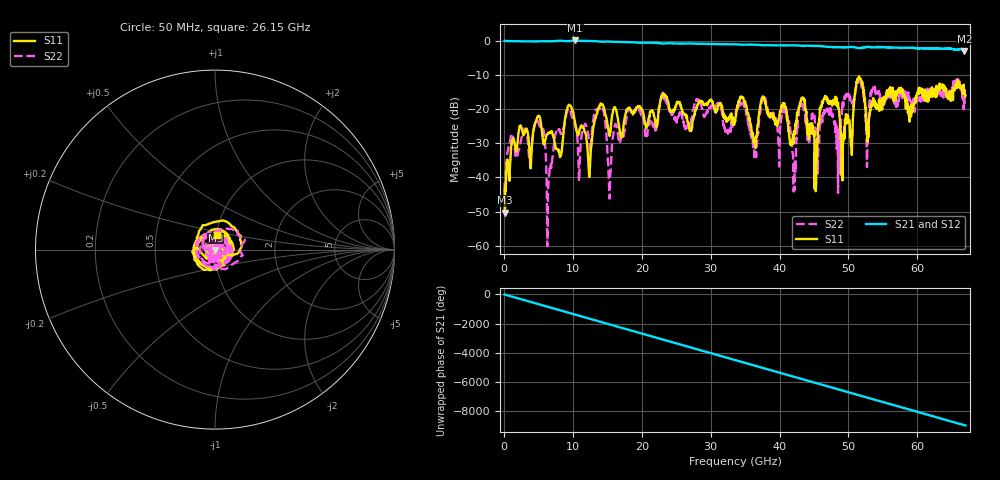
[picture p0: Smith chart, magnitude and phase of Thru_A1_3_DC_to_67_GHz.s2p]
#  HZ  S  MA  R  50.00
! Rohde & Schwarz ZVA67 4Ports - Version 4.11 - 1305.7002k04 SN: 101051
! Date: 2023-05-31 11:07:36
! Measurements: S11 S21 S12 S22
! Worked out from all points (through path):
!   1340 points, 50 MHz to 67 GHz, reference 50 ohm
!   highest |S21| = 0.12 dB at 10.3 GHz (marker M1); lowest = -3.0 dB at 66.85 GHz (marker M2)
!   group delay of S21, straight-line fit = 373 ps
!   lowest |S11| = -50.3 dB at 100 MHz (marker M3), VSWR 1.01, Z = 50.2 - j0.186 ohm
!   |S11| at or under -10 dB: start of sweep to end of sweep
!   |S22| runs from -60.1 to -10.6 dB; largest |S21 - S12| = 0.018
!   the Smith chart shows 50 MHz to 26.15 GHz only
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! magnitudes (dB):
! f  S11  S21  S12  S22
! 50 MHz  -43.6  0.0  0.0  -41.6
! 100 MHz  -50.3  0.0  0.0  -48.3
! 2.35 GHz  -24.8  -0.1  -0.1  -30.1
! 5.45 GHz  -26.0  -0.1  -0.1  -25.3
! 6.4 GHz  -27.2  -0.1  -0.1  -42.4
! 7.6 GHz  -31.7  0.0  0.0  -26.3
! 10.3 GHz  -24.1  0.1  0.1  -24.6
! 11.25 GHz  -24.8  0.0  0.0  -27.3
! 12.4 GHz  -38.7  0.0  0.0  -30.6
! 14.15 GHz  -18.7  -0.3  -0.2  -19.3
! 15.3 GHz  -27.9  -0.2  -0.2  -46.2
! 18.1 GHz  -19.8  -0.4  -0.4  -20.2
! 22.4 GHz  -20.8  -0.6  -0.6  -21.8
! 33.55 GHz  -23.6  -1.0  -1.0  -22.1
! 40.7 GHz  -18.3  -1.4  -1.4  -20.2
! 42.1 GHz  -26.5  -1.3  -1.3  -40.2
! 43 GHz  -18.5  -1.4  -1.4  -19.6
! 44.7 GHz  -24.2  -1.5  -1.5  -21.5
! 48.55 GHz  -19.9  -1.9  -1.9  -26.0
! 55.85 GHz  -16.2  -1.9  -1.9  -16.1
! 66.85 GHz  -14.4  -3.0  -3.0  -18.4
! 67 GHz  -16.0  -2.8  -2.7  -16.5
